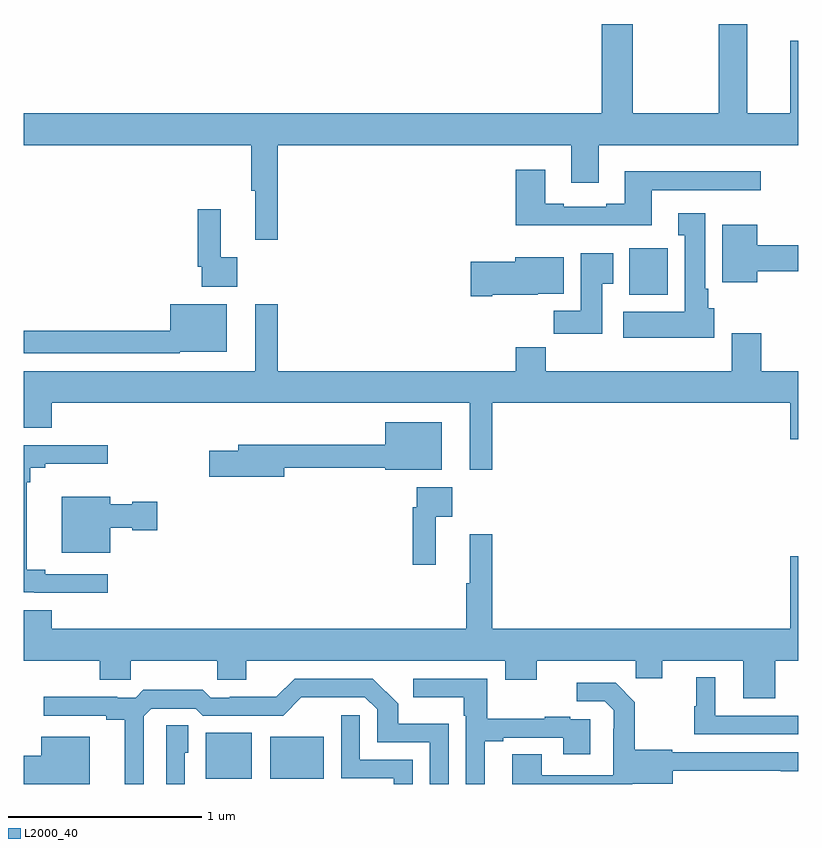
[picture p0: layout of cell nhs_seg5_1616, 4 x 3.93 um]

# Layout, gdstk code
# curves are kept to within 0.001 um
import gdstk
lib = gdstk.Library(unit=1e-6, precision=1e-09)
def R(c, l, rs):  # rectangles x0, y0, x1, y1
    for r in rs: c.add(gdstk.rectangle(r[:2], r[2:], *l))
def P(c, l, *ps):  # polygons
    for p in ps: c.add(gdstk.Polygon(p, *l))
L2000_40 = (2000, 40)

nhs_seg5_1616 = lib.new_cell('nhs_seg5_1616')
R(nhs_seg5_1616, L2000_40, [(209.939,846.827,210.178,847.063), (210.272,846.827,210.55,847.042), (212.129,849.326,212.326,849.568)])
P(nhs_seg5_1616, L2000_40, [(213,850.639),(212.96,850.639),(212.96,850.264),(212.737,850.264),(212.737,850.726),(212.59,850.726),(212.59,850.264),(212.145,850.264),(212.145,850.726),(211.985,850.726),(211.985,850.264),(209,850.264),(209,850.1),(210.175,850.1),(210.175,849.864),(210.194,849.864),(210.194,849.612),(210.311,849.612),(210.311,850.1),(211.829,850.1),(211.829,849.906),(211.969,849.906),(211.969,850.1),(213,850.1)],
  [(212.245,849.867),(212.806,849.867),(212.806,849.964),(212.105,849.964),(212.105,849.796),(212.009,849.796),(212.009,849.783),(211.789,849.783),(211.789,849.796),(211.693,849.796),(211.693,849.973),(211.541,849.973),(211.541,849.686),(212.245,849.686)],
  [(210.103,849.521),(210.017,849.521),(210.017,849.769),(209.899,849.769),(209.899,849.472),(209.919,849.472),(209.919,849.368),(210.103,849.368)],
  [(212.566,849.258),(212.536,849.258),(212.536,849.358),(212.521,849.358),(212.521,849.748),(212.381,849.748),(212.381,849.635),(212.414,849.635),(212.414,849.238),(212.097,849.238),(212.097,849.104),(212.566,849.104)],
  [(212.788,849.448),(213,849.448),(213,849.584),(212.788,849.584),(212.788,849.688),(212.609,849.688),(212.609,849.392),(212.788,849.392)],
  [(211.987,849.385),(212.044,849.385),(212.044,849.541),(211.877,849.541),(211.877,849.244),(211.738,849.244),(211.738,849.126),(211.987,849.126)],
  [(211.42,849.326),(211.656,849.326),(211.656,849.332),(211.789,849.332),(211.789,849.52),(211.538,849.52),(211.538,849.497),(211.308,849.497),(211.308,849.319),(211.42,849.319)],
  [(211.421,848.768),(212.96,848.768),(212.96,848.58),(213,848.58),(213,848.932),(212.81,848.932),(212.81,849.127),(212.657,849.127),(212.657,848.932),(211.697,848.932),(211.697,849.056),(211.541,849.056),(211.541,848.932),(210.311,848.932),(210.311,849.277),(210.194,849.277),(210.194,848.932),(209,848.932),(209,848.64),(209.143,848.64),(209.143,848.768),(211.304,848.768),(211.304,848.424),(211.421,848.424)],
  [(209.805,849.032),(210.049,849.032),(210.049,849.277),(209.756,849.277),(209.756,849.14),(209,849.14),(209,849.024),(209.805,849.024)],
  [(210.346,848.434),(210.866,848.434),(210.866,848.423),(211.159,848.423),(211.159,848.668),(210.866,848.668),(210.866,848.552),(210.107,848.552),(210.107,848.521),(209.958,848.521),(209.958,848.387),(210.346,848.387)],
  [(209.434,847.884),(209.11,847.884),(209.11,847.907),(209.015,847.907),(209.015,848.357),(209.033,848.357),(209.033,848.434),(209.11,848.434),(209.11,848.453),(209.434,848.453),(209.434,848.55),(209,848.55),(209,847.791),(209.053,847.791),(209.053,847.787),(209.434,847.787)],
  [(211.127,848.18),(211.213,848.18),(211.213,848.332),(211.029,848.332),(211.029,848.228),(211.009,848.228),(211.009,847.932),(211.127,847.932)],
  [(209.446,848.123),(209.559,848.123),(209.559,848.111),(209.689,848.111),(209.689,848.258),(209.559,848.258),(209.559,848.245),(209.446,848.245),(209.446,848.284),(209.195,848.284),(209.195,847.994),(209.446,847.994)],
  [(211.421,848.089),(211.304,848.089),(211.304,847.836),(211.285,847.836),(211.285,847.6),(209.144,847.6),(209.144,847.698),(209,847.698),(209,847.436),(209.393,847.436),(209.393,847.338),(209.553,847.338),(209.553,847.436),(209.998,847.436),(209.998,847.338),(210.148,847.338),(210.148,847.436),(211.487,847.436),(211.487,847.337),(211.651,847.337),(211.651,847.436),(212.161,847.436),(212.161,847.346),(212.299,847.346),(212.299,847.436),(212.717,847.436),(212.717,847.242),(212.881,847.242),(212.881,847.436),(213,847.436),(213,847.975),(212.96,847.975),(212.96,847.6),(211.421,847.6)],
  [(213,847.152),(212.572,847.152),(212.572,847.351),(212.474,847.351),(212.474,847.2),(212.463,847.2),(212.463,847.056),(213,847.056)],
  [(211.381,847.02),(211.477,847.02),(211.477,847.038),(211.787,847.038),(211.787,846.954),(211.927,846.954),(211.927,847.134),(211.823,847.134),(211.823,847.147),(211.691,847.147),(211.691,847.136),(211.393,847.136),(211.393,847.344),(211.011,847.344),(211.011,847.247),(211.272,847.247),(211.272,847.151),(211.284,847.151),(211.284,846.799),(211.381,846.799)],
  [(209.619,847.149),(209.658,847.188),(209.889,847.188),(209.925,847.152),(210.339,847.152),(210.434,847.247),(210.762,847.248),(210.825,847.185),(210.825,847.014),(211.098,847.014),(211.098,846.799),(211.194,846.799),(211.194,847.111),(210.933,847.111),(210.933,847.214),(210.802,847.344),(210.399,847.344),(210.305,847.25),(210.064,847.25),(210.064,847.245),(209.964,847.245),(209.925,847.285),(209.617,847.285),(209.577,847.245),(209.483,847.245),(209.483,847.25),(209.103,847.25),(209.103,847.152),(209.426,847.152),(209.426,847.13),(209.522,847.13),(209.522,846.799),(209.619,846.799)],
  [(212.142,846.8),(212.353,846.8),(212.353,846.867),(213,846.866),(213,846.963),(212.349,846.963),(212.349,846.976),(212.157,846.976),(212.157,847.221),(212.057,847.321),(211.857,847.321),(211.857,847.227),(212.001,847.227),(212.048,847.18),(212.048,847.085),(212.046,847.085),(212.046,846.844),(211.675,846.844),(211.675,846.953),(211.523,846.953),(211.523,846.799)],
  [(211.008,846.924),(210.735,846.924),(210.735,847.153),(210.639,847.153),(210.639,846.828),(210.912,846.828),(210.912,846.799),(211.008,846.799)],
  [(209.832,846.96),(209.848,846.96),(209.848,847.103),(209.736,847.103),(209.736,846.799),(209.832,846.799)],
  [(209.341,847.042),(209.09,847.042),(209.09,846.944),(209,846.944),(209,846.799),(209.341,846.799)])

lib.write_gds('nhs_seg5_1616.gds')
